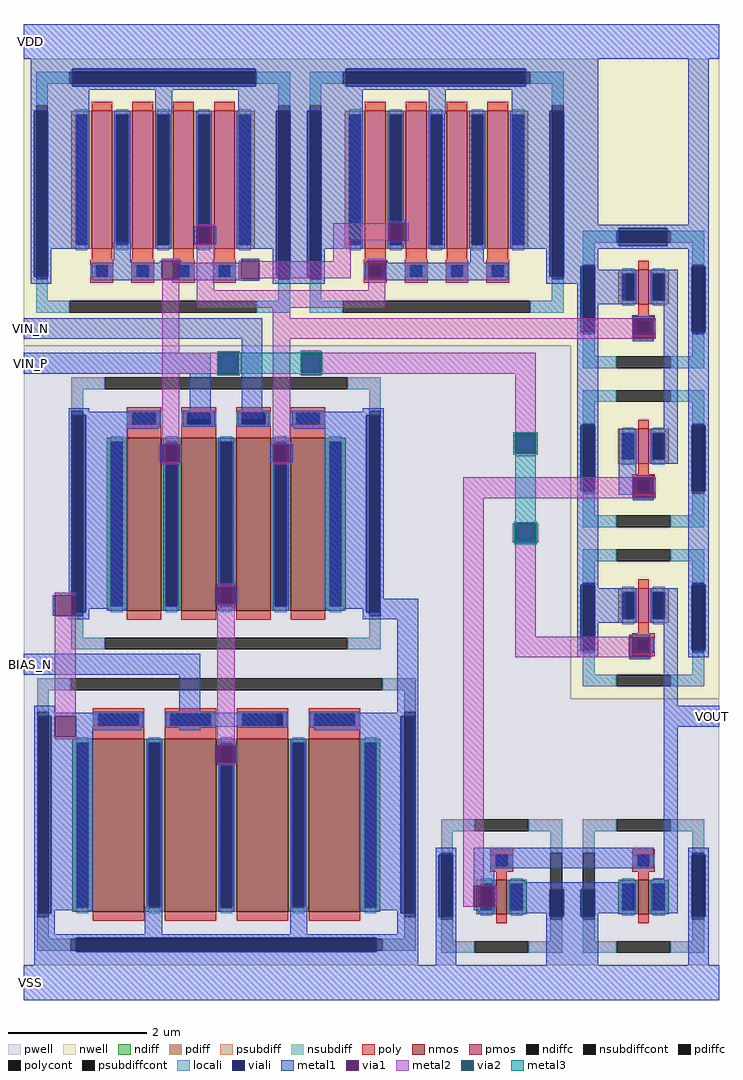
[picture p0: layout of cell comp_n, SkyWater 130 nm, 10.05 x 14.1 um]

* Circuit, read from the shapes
.subckt comp_n VDD VSS VIN_N VIN_P VOUT BIAS_N
XM1 VSS VSS VSS VSS sky130_fd_pr__nfet_01v8 w=2.5 l=0.75 m=2
XM2 sky130_fd_pr__pfet_01v8_FTRNYQ_2/G VSS VSS VSS sky130_fd_pr__nfet_01v8 w=2.5 l=0.5
XM3 sky130_fd_pr__nfet_01v8_57CR37_0/D2 BIAS_N VSS VSS sky130_fd_pr__nfet_01v8 w=2.5 l=0.75 m=2
XM4 sky130_fd_pr__nfet_01v8_57CR37_0/D2 VIN_P sky130_fd_pr__pfet_01v8_FTRNYQ_2/G VSS sky130_fd_pr__nfet_01v8 w=2.5 l=0.5
XM5 sky130_fd_pr__pfet_01v8_FTRNYQ_0/G VIN_N sky130_fd_pr__nfet_01v8_57CR37_0/D2 VSS sky130_fd_pr__nfet_01v8 w=2.5 l=0.5
XM6 VSS VSS sky130_fd_pr__pfet_01v8_FTRNYQ_0/G VSS sky130_fd_pr__nfet_01v8 w=2.5 l=0.5
XM7 VSS sky130_fd_pr__nfet_01v8_CTHBRU_0/D sky130_fd_pr__nfet_01v8_CTHBRU_0/D VSS sky130_fd_pr__nfet_01v8 w=0.5 l=0.15
XM8 VOUT sky130_fd_pr__nfet_01v8_CTHBRU_0/D VSS VSS sky130_fd_pr__nfet_01v8 w=0.5 l=0.15
XM9 sky130_fd_pr__pfet_01v8_FTRNYQ_2/G sky130_fd_pr__pfet_01v8_FTRNYQ_2/G VDD VDD sky130_fd_pr__pfet_01v8 w=2 l=0.3 m=2
XM10 sky130_fd_pr__pfet_01v8_FTRNYQ_0/G sky130_fd_pr__pfet_01v8_FTRNYQ_2/G VDD VDD sky130_fd_pr__pfet_01v8 w=2 l=0.3 m=2
XM11 sky130_fd_pr__pfet_01v8_FTRNYQ_2/G sky130_fd_pr__pfet_01v8_FTRNYQ_0/G VDD VDD sky130_fd_pr__pfet_01v8 w=2 l=0.3 m=2
XM12 sky130_fd_pr__pfet_01v8_FTRNYQ_0/G sky130_fd_pr__pfet_01v8_FTRNYQ_0/G VDD VDD sky130_fd_pr__pfet_01v8 w=2 l=0.3 m=2
XM13 VOUT sky130_fd_pr__pfet_01v8_FTRNYQ_2/G VDD VDD sky130_fd_pr__pfet_01v8 w=0.5 l=0.15
XM14 sky130_fd_pr__pfet_01v8_FTRNYQ_0/S sky130_fd_pr__nfet_01v8_CTHBRU_0/D sky130_fd_pr__nfet_01v8_CTHBRU_0/D VDD sky130_fd_pr__pfet_01v8 w=0.5 l=0.15
XM15 sky130_fd_pr__pfet_01v8_FTRNYQ_0/S sky130_fd_pr__pfet_01v8_FTRNYQ_0/G VDD VDD sky130_fd_pr__pfet_01v8 w=0.5 l=0.15
.ends

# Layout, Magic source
magic
tech sky130A
magscale 1 2
<< nwell >>
rect -100 2570 1910 2580
rect 1480 2110 1910 2570
rect -100 1750 1490 1810
rect 1900 730 1910 2110
<< pwell >>
rect -100 730 1480 1750
rect -100 420 1910 730
rect -100 410 1480 420
rect -100 -40 1070 410
rect 1890 -40 1910 420
<< viali >>
rect 40 2500 570 2550
rect 830 2500 1350 2550
rect -70 1950 -30 2430
rect 630 1950 670 2430
rect 720 1950 760 2430
rect 1420 1950 1460 2430
rect 1620 2040 1760 2090
rect 1510 1790 1550 1980
rect 1830 1790 1870 1980
rect 40 980 80 1550
rect 890 980 930 1550
rect 1510 1330 1550 1520
rect 1830 1330 1870 1520
rect 1510 870 1550 1060
rect 1830 870 1870 1060
rect -60 110 -20 680
rect 990 110 1030 680
rect 1100 100 1140 280
rect 1420 100 1460 180
rect 1510 100 1550 180
rect 1830 100 1870 280
rect 50 0 920 40
<< metal1 >>
rect -100 2580 1910 2680
rect -80 2550 1560 2580
rect -80 2500 40 2550
rect 570 2500 830 2550
rect 1350 2500 1560 2550
rect -80 2490 1560 2500
rect -80 2430 90 2490
rect -80 1950 -70 2430
rect -30 2030 90 2430
rect 280 2420 330 2490
rect 520 2430 880 2490
rect -30 1950 -20 2030
rect 160 1996 210 2050
rect 393 2044 399 2096
rect 451 2044 457 2096
rect 520 2030 630 2430
rect 528 1996 580 2002
rect 158 1990 210 1996
rect 293 1990 299 1996
rect -80 1930 -20 1950
rect 100 1944 299 1990
rect 351 1990 357 1996
rect 351 1944 528 1990
rect 100 1940 580 1944
rect 528 1938 580 1940
rect 620 1950 630 2030
rect 670 1950 720 2430
rect 760 2030 880 2430
rect 1070 2420 1120 2490
rect 1310 2430 1560 2490
rect 954 2106 1006 2112
rect 954 2048 1006 2054
rect 760 1950 770 2030
rect 620 1930 770 1950
rect 888 1944 894 1996
rect 946 1990 952 1996
rect 1190 1990 1230 2040
rect 1310 2030 1420 2430
rect 946 1944 1300 1990
rect 890 1940 1300 1944
rect 1410 1950 1420 2030
rect 1460 2100 1560 2430
rect 1820 2100 1880 2580
rect 1460 2090 1880 2100
rect 1460 2040 1620 2090
rect 1760 2040 1880 2090
rect 1460 2030 1880 2040
rect 1460 1980 1560 2030
rect 1460 1950 1510 1980
rect 1410 1930 1510 1950
rect -100 1770 590 1830
rect -100 1670 440 1730
rect 30 1560 90 1570
rect 30 1550 290 1560
rect 30 1030 40 1550
rect 80 1510 290 1550
rect 380 1540 440 1670
rect 530 1540 590 1770
rect 1500 1790 1510 1930
rect 1550 1970 1560 1980
rect 1820 1980 1880 2030
rect 1550 1870 1640 1970
rect 1550 1790 1560 1870
rect 880 1560 940 1570
rect 680 1550 940 1560
rect 680 1510 890 1550
rect -16 970 -10 1030
rect 80 990 200 1510
rect 293 1414 299 1466
rect 351 1414 357 1466
rect 613 1414 619 1466
rect 671 1414 677 1466
rect 453 1004 459 1056
rect 511 1004 517 1056
rect 770 990 890 1510
rect 80 980 90 990
rect 50 970 90 980
rect 30 960 90 970
rect 880 980 890 990
rect 930 1020 940 1550
rect 1500 1520 1560 1790
rect 1660 1830 1720 1836
rect 1660 1764 1720 1770
rect 1500 1330 1510 1520
rect 1550 1330 1560 1520
rect 1500 1060 1560 1330
rect 1620 1376 1670 1510
rect 1750 1410 1790 1970
rect 1820 1790 1830 1980
rect 1870 1790 1880 1980
rect 1820 1520 1880 1790
rect 1620 1370 1720 1376
rect 1620 1320 1660 1370
rect 1660 1304 1720 1310
rect 1820 1330 1830 1520
rect 1870 1330 1880 1520
rect 930 980 1040 1020
rect 880 960 1040 980
rect -100 800 410 860
rect -70 690 -10 710
rect 350 690 410 800
rect 980 690 1040 960
rect 1500 870 1510 1060
rect 1550 1050 1560 1060
rect 1820 1060 1880 1330
rect 1550 950 1640 1050
rect 1550 870 1560 950
rect 1500 850 1560 870
rect 1650 910 1710 916
rect 1650 844 1710 850
rect -70 680 240 690
rect -70 110 -60 680
rect -20 620 -10 680
rect 50 640 240 680
rect 320 650 630 690
rect 740 680 1040 690
rect 350 640 410 650
rect 740 640 990 680
rect 50 620 100 640
rect -20 120 100 620
rect 453 544 459 596
rect 511 544 517 596
rect -20 110 -10 120
rect -70 50 -10 110
rect 250 50 300 130
rect 670 50 720 130
rect 870 120 990 640
rect 980 110 990 120
rect 1030 110 1040 680
rect 1750 710 1790 1050
rect 1820 870 1830 1060
rect 1870 870 1880 1060
rect 1820 850 1880 870
rect 1750 650 1910 710
rect 980 50 1040 110
rect -70 40 1040 50
rect -70 0 50 40
rect 920 0 1040 40
rect -70 -40 1040 0
rect 1090 280 1150 300
rect 1090 100 1100 280
rect 1140 100 1150 280
rect 1200 240 1720 300
rect 1200 196 1260 240
rect 1750 210 1790 650
rect 1200 190 1261 196
rect 1200 130 1201 190
rect 1200 124 1261 130
rect 1310 180 1660 200
rect 1200 120 1260 124
rect 1310 110 1420 180
rect 1090 -40 1150 100
rect 1410 100 1420 110
rect 1460 100 1510 180
rect 1550 110 1660 180
rect 1720 110 1790 210
rect 1820 280 1880 300
rect 1550 100 1560 110
rect 1410 -40 1560 100
rect 1820 100 1830 280
rect 1870 100 1880 280
rect 1820 -40 1880 100
rect -100 -140 1910 -40
<< via1 >>
rect 399 2044 451 2096
rect 299 1944 351 1996
rect 528 1944 580 1996
rect 954 2054 1006 2106
rect 894 1944 946 1996
rect -10 980 40 1030
rect 40 980 50 1030
rect 299 1414 351 1466
rect 619 1414 671 1466
rect 459 1004 511 1056
rect -10 970 50 980
rect 1660 1770 1720 1830
rect 1660 1310 1720 1370
rect 1650 850 1710 910
rect -10 620 50 680
rect 459 544 511 596
rect 1201 130 1261 190
<< metal2 >>
rect 948 2105 954 2106
rect 399 2096 451 2102
rect 399 2038 451 2044
rect 795 2055 954 2105
rect 299 1996 351 2002
rect 299 1938 351 1944
rect 300 1730 350 1938
rect 400 1910 450 2038
rect 522 1944 528 1996
rect 580 1995 586 1996
rect 795 1995 845 2055
rect 948 2054 954 2055
rect 1006 2054 1012 2106
rect 580 1945 845 1995
rect 894 1996 946 2002
rect 580 1944 586 1945
rect 894 1938 946 1944
rect 895 1910 945 1938
rect 400 1860 945 1910
rect 620 1830 670 1860
rect 620 1770 1660 1830
rect 1720 1770 1726 1830
rect 300 1670 464 1730
rect 520 1670 529 1730
rect 300 1472 350 1670
rect 620 1472 670 1770
rect 702 1730 758 1737
rect 702 1728 1380 1730
rect 758 1672 1380 1728
rect 702 1670 1380 1672
rect 702 1663 758 1670
rect 1320 1496 1380 1670
rect 299 1466 351 1472
rect 299 1408 351 1414
rect 619 1466 671 1472
rect 1320 1431 1380 1440
rect 619 1408 671 1414
rect 1170 1310 1660 1370
rect 1720 1310 1726 1370
rect 459 1056 511 1062
rect -10 1030 50 1036
rect 459 998 511 1004
rect -10 680 50 970
rect -10 614 50 620
rect 460 602 510 998
rect 459 596 511 602
rect 459 538 511 544
rect 1170 190 1230 1310
rect 1320 1238 1380 1240
rect 1313 1182 1322 1238
rect 1378 1182 1387 1238
rect 1320 910 1380 1182
rect 1320 850 1650 910
rect 1710 850 1716 910
rect 1170 130 1201 190
rect 1261 130 1267 190
<< via2 >>
rect 464 1670 520 1730
rect 702 1672 758 1728
rect 1320 1440 1380 1496
rect 1322 1182 1378 1238
<< metal3 >>
rect 459 1730 525 1735
rect 697 1730 763 1733
rect 459 1670 464 1730
rect 520 1728 763 1730
rect 520 1672 702 1728
rect 758 1672 763 1728
rect 520 1670 763 1672
rect 459 1665 525 1670
rect 697 1667 763 1670
rect 1315 1496 1385 1501
rect 1315 1440 1320 1496
rect 1380 1440 1385 1496
rect 1315 1435 1385 1440
rect 1320 1243 1380 1435
rect 1317 1238 1383 1243
rect 1317 1182 1322 1238
rect 1378 1182 1383 1238
rect 1317 1177 1383 1182
use sky130_fd_pr__nfet_01v8_57CR37  sky130_fd_pr__nfet_01v8_57CR37_0
transform 1 0 486 0 1 396
box -583 -429 583 429
use sky130_fd_pr__nfet_01v8_CTHBRU  sky130_fd_pr__nfet_01v8_CTHBRU_0 ~/projects/fyp_vco/magic/ip/comp_p
transform 1 0 1281 0 1 189
box -211 -229 211 229
use sky130_fd_pr__nfet_01v8_CTHBRU  sky130_fd_pr__nfet_01v8_CTHBRU_1
transform 1 0 1691 0 1 189
box -211 -229 211 229
use sky130_fd_pr__nfet_01v8_GSFB4Z  sky130_fd_pr__nfet_01v8_GSFB4Z_0
transform 1 0 485 0 1 1266
box -483 -429 483 429
use sky130_fd_pr__pfet_01v8_FTRNYQ  sky130_fd_pr__pfet_01v8_FTRNYQ_0 ~/projects/fyp_vco/magic/ip/comp_p
transform 1 0 1691 0 1 1884
box -211 -234 211 234
use sky130_fd_pr__pfet_01v8_FTRNYQ  sky130_fd_pr__pfet_01v8_FTRNYQ_1
transform 1 0 1691 0 1 1424
box -211 -234 211 234
use sky130_fd_pr__pfet_01v8_FTRNYQ  sky130_fd_pr__pfet_01v8_FTRNYQ_2
transform 1 0 1691 0 1 964
box -211 -234 211 234
use sky130_fd_pr__pfet_01v8_PBPX32  sky130_fd_pr__pfet_01v8_PBPX32_0
transform 1 0 303 0 1 2194
box -403 -384 403 384
use sky130_fd_pr__pfet_01v8_PBPX32  sky130_fd_pr__pfet_01v8_PBPX32_1
transform 1 0 1093 0 1 2194
box -403 -384 403 384
<< labels >>
flabel metal1 -100 2610 -60 2650 0 FreeSans 240 0 0 0 VDD
port 1 nsew
flabel metal1 -100 -110 -60 -70 0 FreeSans 240 0 0 0 VSS
port 2 nsew
flabel metal1 -100 1780 -60 1820 0 FreeSans 240 0 0 0 VIN_N
port 3 nsew
flabel metal1 -100 1680 -60 1720 0 FreeSans 240 0 0 0 VIN_P
port 4 nsew
flabel metal1 1870 660 1910 700 0 FreeSans 240 0 0 0 VOUT
port 5 nsew
flabel metal1 -100 810 -60 850 0 FreeSans 240 0 0 0 BIAS_N
port 6 nsew
<< end >>

# cell sky130_fd_pr__nfet_01v8_57CR37: kit device sky130_fd_pr__nfet_01v8, w 2.5 l 0.75 m 1 nf 4 diffcov 100 polycov 100 guard 1 glc 1 grc 1 gtc 1 gbc 1 tbcov 100 rlcov 100 topc 1 botc 0 poverlap 0 doverlap 1 lmin 0.15 wmin 0.42 class mosfet compatible {sky130_fd_pr__nfet_01v8 sky130_fd_pr__nfet_01v8_lvt sky130_fd_bs_flash__special_sonosfet_star sky130_fd_pr__nfet_g5v0d10v5 sky130_fd_pr__nfet_05v0_nvt sky130_fd_pr__nfet_03v3_nvt} full_metal 1 conn_gates 0 viasrc 100 viadrn 100 viagate 100 viagb 0 viagr 0 viagl 0 viagt 0 doports 1

# cell sky130_fd_pr__nfet_01v8_CTHBRU: kit device sky130_fd_pr__nfet_01v8, w 0.5 l 0.150 m 1 nf 1 diffcov 100 polycov 100 guard 1 glc 1 grc 1 gtc 1 gbc 1 tbcov 100 rlcov 100 topc 1 botc 0 poverlap 0 doverlap 1 lmin 0.15 wmin 0.42 class mosfet compatible {sky130_fd_pr__nfet_01v8 sky130_fd_pr__nfet_01v8_lvt sky130_fd_bs_flash__special_sonosfet_star sky130_fd_pr__nfet_g5v0d10v5 sky130_fd_pr__nfet_05v0_nvt sky130_fd_pr__nfet_03v3_nvt} full_metal 1 conn_gates 0 viasrc 100 viadrn 100 viagate 100 viagb 0 viagr 0 viagl 0 viagt 0 doports 1

# cell sky130_fd_pr__nfet_01v8_GSFB4Z: kit device sky130_fd_pr__nfet_01v8, w 2.5 l 0.5 m 1 nf 4 diffcov 100 polycov 100 guard 1 glc 1 grc 1 gtc 1 gbc 1 tbcov 100 rlcov 100 topc 1 botc 0 poverlap 0 doverlap 1 lmin 0.15 wmin 0.42 class mosfet compatible {sky130_fd_pr__nfet_01v8 sky130_fd_pr__nfet_01v8_lvt sky130_fd_bs_flash__special_sonosfet_star sky130_fd_pr__nfet_g5v0d10v5 sky130_fd_pr__nfet_05v0_nvt sky130_fd_pr__nfet_03v3_nvt} full_metal 1 conn_gates 0 viasrc 100 viadrn 100 viagate 100 viagb 0 viagr 0 viagl 0 viagt 0 doports 1

# cell sky130_fd_pr__pfet_01v8_FTRNYQ: kit device sky130_fd_pr__pfet_01v8, w 0.5 l 0.15 m 1 nf 1 diffcov 100 polycov 100 guard 1 glc 1 grc 1 gtc 1 gbc 1 tbcov 100 rlcov 100 topc 0 botc 1 poverlap 0 doverlap 1 lmin 0.15 wmin 0.42 class mosfet compatible {sky130_fd_pr__pfet_01v8 sky130_fd_pr__pfet_01v8_lvt sky130_fd_pr__pfet_01v8_hvt sky130_fd_pr__pfet_g5v0d10v5} full_metal 1 conn_gates 0 viasrc 100 viadrn 100 viagate 100 viagb 0 viagr 0 viagl 0 viagt 0 doports 1

# cell sky130_fd_pr__pfet_01v8_PBPX32: kit device sky130_fd_pr__pfet_01v8, w 2 l 0.3 m 1 nf 4 diffcov 100 polycov 100 guard 1 glc 1 grc 1 gtc 1 gbc 1 tbcov 100 rlcov 100 topc 0 botc 1 poverlap 0 doverlap 1 lmin 0.15 wmin 0.42 class mosfet compatible {sky130_fd_pr__pfet_01v8 sky130_fd_pr__pfet_01v8_lvt sky130_fd_pr__pfet_01v8_hvt sky130_fd_pr__pfet_g5v0d10v5} full_metal 1 conn_gates 0 viasrc 100 viadrn 100 viagate 100 viagb 0 viagr 0 viagl 0 viagt 0 doports 1
